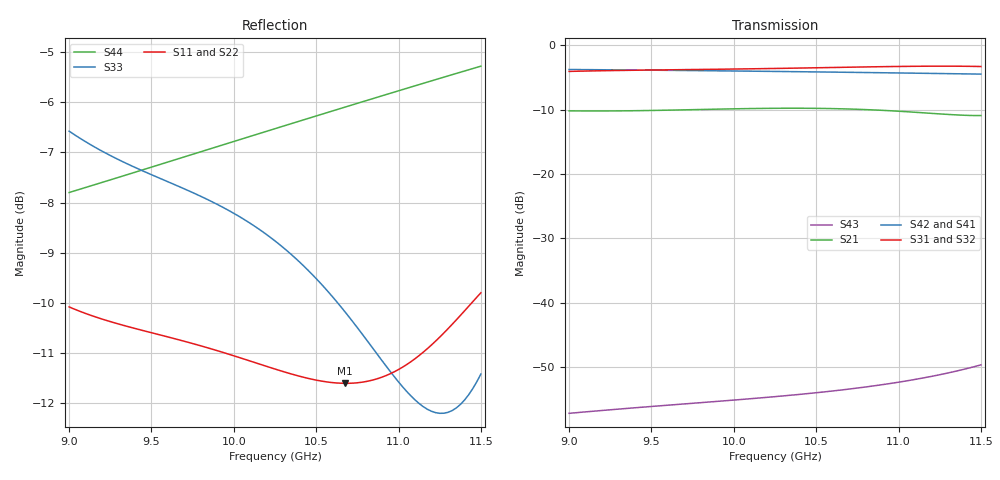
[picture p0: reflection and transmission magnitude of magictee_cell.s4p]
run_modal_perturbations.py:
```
#!/usr/bin/env python3
"""Rebuild the six strict central-difference cases with the current shared cell model.

The v7 final seed is
    lower radius  = 1.4 mm
    split height  = 6.2 mm
    upper radius  = 0.9 mm
    total height  = 16.25 mm

Existing v7 results already provide:
    center        : (1.4, 6.2, 0.9, 16.25)
    lower_plus    : (1.6, 6.2, 0.9, 16.25)
    split_plus    : (1.4, 7.2, 0.9, 16.25)

This script builds only the six non-reused cases:
    lower_minus, split_minus,
    upper_minus, upper_plus,
    total_minus, total_plus.

The historical .s4p paper inputs stay untouched. Compare rebuilt cases against
those inputs before using them to revise manuscript numbers.
"""

from __future__ import annotations

import argparse
import json
import subprocess
from dataclasses import asdict, dataclass
from pathlib import Path


@dataclass(frozen=True)
class Case:
    name: str
    lower_radius: float
    lower_height: float
    upper_radius: float
    total_height: float


CASES = [
    Case("lower_minus", 1.2, 6.2, 0.9, 16.25),
    Case("split_minus", 1.4, 5.2, 0.9, 16.25),
    Case("upper_minus", 1.4, 6.2, 0.7, 16.25),
    Case("upper_plus", 1.4, 6.2, 1.1, 16.25),
    Case("total_minus", 1.4, 6.2, 0.9, 15.50),
    Case("total_plus", 1.4, 6.2, 0.9, 17.00),
]


def build_command(
    launcher: Path,
    builder: Path,
    version: str,
    windows_output: str,
    case: Case,
) -> list[str]:
    return [
        str(launcher),
        str(builder),
        "--mode",
        "cell",
        "--version",
        version,
        "--output",
        windows_output,
        "--post-lower-radius",
        str(case.lower_radius),
        "--post-lower-height",
        str(case.lower_height),
        "--post-upper-radius",
        str(case.upper_radius),
        "--post-total-height",
        str(case.total_height),
        "--solve",
        "--non-graphical",
    ]


def wsl_to_windows_path(path: Path) -> str:
    """Convert a WSL path to a path accepted by Windows Python/AEDT."""
    try:
        converted = subprocess.check_output(
            ["wslpath", "-w", str(path)],
            text=True,
        ).strip()
    except FileNotFoundError as exc:
        raise RuntimeError(
            "wslpath is unavailable; run this workflow from WSL2"
        ) from exc
    if not converted:
        raise RuntimeError(f"wslpath returned an empty path for {path}")
    return converted


def main() -> None:
    here = Path(__file__).resolve().parent

    parser = argparse.ArgumentParser()
    parser.add_argument(
        "--builder",
        type=Path,
        default=here / "build_model.py",
    )
    parser.add_argument(
        "--launcher",
        type=Path,
        default=here.parent / "scripts" / "wsl_pyaedt_launcher.sh",
        help="WSL launcher for the Windows PyAEDT environment",
    )
    parser.add_argument(
        "--output-root",
        type=Path,
        default=here / "output_current" / "modal_perturbations",
    )
    parser.add_argument("--version", default="2025.2")
    parser.add_argument("--skip-existing", action="store_true")
    args = parser.parse_args()

    builder = args.builder.resolve()
    launcher = args.launcher.resolve()
    root = args.output_root.resolve()
    root.mkdir(parents=True, exist_ok=True)
    windows_root = wsl_to_windows_path(root)

    manifest = {
        "program": "v8 strict modal controllability identification",
        "center": {
            "lower_radius_mm": 1.4,
            "split_height_mm": 6.2,
            "upper_radius_mm": 0.9,
            "total_height_mm": 16.25,
        },
        "central_difference_half_steps_mm": {
            "lower_radius": 0.2,
            "split_height": 1.0,
            "upper_radius": 0.2,
            "total_height": 0.75,
        },
        "reused_v7_cases": {
            "center": "hfss/results/v7_stepped_post_local/joint_l1p4_s6p2",
            "lower_plus": "hfss/results/v7_stepped_post_local/joint_l1p6_s6p2",
            "split_plus": "hfss/results/v7_stepped_post_local/joint_l1p4_s7p2",
        },
        "new_cases": [],
    }

    for case in CASES:
        outdir = root / case.name
        target = outdir / "magictee_cell.s4p"
        manifest["new_cases"].append(
            {
                **asdict(case),
                "output": str(target),
            }
        )

        if args.skip_existing and target.exists():
            print("[skip]", case.name, flush=True)
            continue

        outdir.mkdir(parents=True, exist_ok=True)
        windows_output = windows_root.rstrip("\\/") + "\\" + case.name
        cmd = build_command(launcher, builder, args.version, windows_output, case)
        print("[run]", case.name, flush=True)
        subprocess.run(cmd, check=True)

        if not target.exists():
            raise RuntimeError(f"missing Touchstone result: {target}")

    manifest_path = root / "manifest.json"
    manifest_path.write_text(json.dumps(manifest, indent=2), encoding="utf-8")
    print("manifest:", manifest_path)


if __name__ == "__main__":
    main()
```
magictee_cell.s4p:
! 4-port HFSS model; port order: P1 P2 H E
# GHz S MA R 50
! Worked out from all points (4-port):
!   101 points, 9 GHz to 11.5 GHz, reference 50 ohm
!   strongest paths, dB at 9 GHz, 9.625 GHz, 10.25 GHz, 10.88 GHz, 11.5 GHz:
!     S31: -4.1, -3.8, -3.6, -3.4, -3.3
!     S32: -4.1, -3.8, -3.6, -3.4, -3.4
!     S42: -3.8, -3.9, -4.1, -4.3, -4.5
!     S41: -3.8, -4.0, -4.1, -4.3, -4.6
!     S21: -10.2, -10.1, -9.8, -10.1, -10.9
!     S43: -57.1, -55.8, -54.6, -52.8, -49.6
!   lowest |S11| = -11.6 dB at 10.68 GHz (marker M1), VSWR 1.71, Z = 29.3 + j2.71 ohm
!   |S11| at or under -10 dB: start of sweep to 11.44 GHz
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9  0.3134 -11.5  0.309 -93.3  0.6251 -26.5  0.6447 45.5
   0.309 -93.3  0.3109 -11.2  0.624 -26.6  0.6469 -134.7
   0.6251 -26.5  0.624 -26.6  0.4689 179.0  0.00139 -114.4
   0.6447 45.5  0.6469 -134.7  0.00139 -114.4  0.4074 -126.5
10.675  0.2631 170.6  0.3199 54.3  0.673 50.7  0.6128 -135.1
        0.3199 54.3  0.26 171.0  0.6716 50.6  0.6156 44.7
        0.673 50.7  0.6716 50.6  0.3099 178.0  0.002125 -54.0
        0.6128 -135.1  0.6156 44.7  0.002125 -54.0  0.4955 63.5
11.5  0.3237 95.3  0.284 -32.3  0.6824 -89.5  0.5907 141.2
      0.284 -32.3  0.3198 95.8  0.6798 -89.6  0.5957 -39.1
      0.6824 -89.5  0.6798 -89.6  0.2687 -37.9  0.003303 161.4
      0.5907 141.2  0.5957 -39.1  0.003303 161.4  0.5442 -17.8
